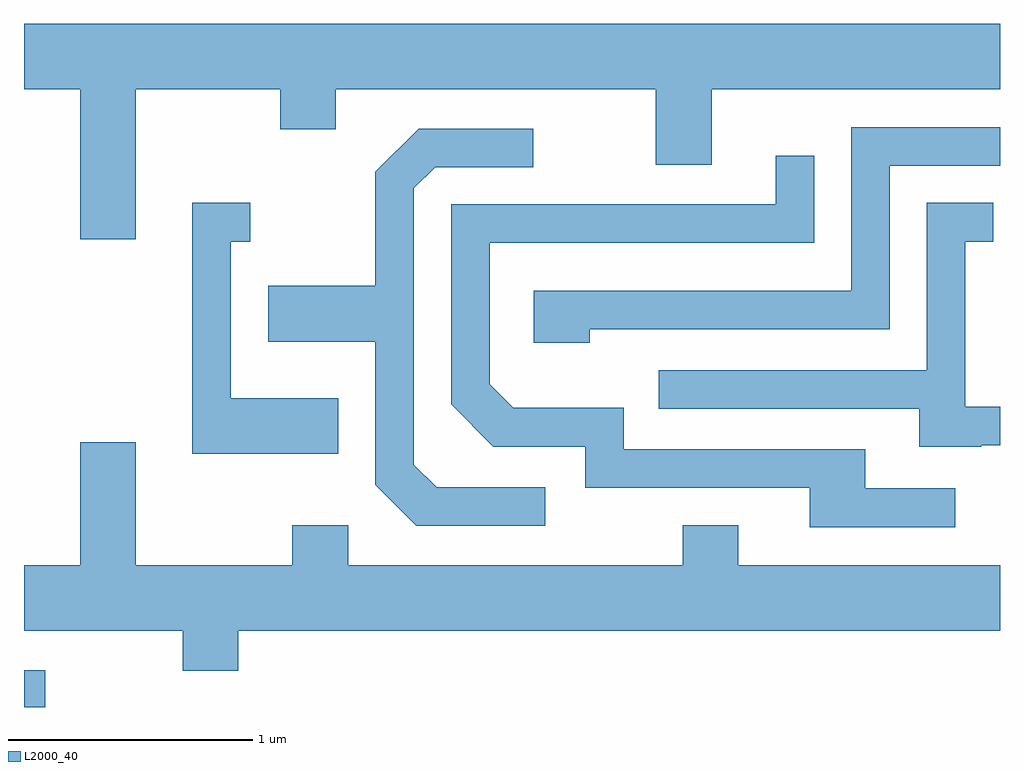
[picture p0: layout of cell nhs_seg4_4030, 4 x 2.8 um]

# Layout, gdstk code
import gdstk
lib = gdstk.Library(unit=1e-6, precision=1e-09)
def R(c, l, rs):  # rectangles x0, y0, x1, y1
    for r in rs: c.add(gdstk.rectangle(r[:2], r[2:], *l))
def P(c, l, *ps):  # polygons
    for p in ps: c.add(gdstk.Polygon(p, *l))
L2000_40 = (2000, 40)

nhs_seg4_4030 = lib.new_cell('nhs_seg4_4030')
R(nhs_seg4_4030, L2000_40, [(303.611,1289.982,303.698,1290.134)])
P(nhs_seg4_4030, L2000_40, [(304.069,1292.516),(304.661,1292.516),(304.661,1292.351),(304.889,1292.351),(304.889,1292.516),(306.201,1292.516),(306.201,1292.206),(306.429,1292.206),(306.429,1292.516),(307.611,1292.516),(307.611,1292.784),(303.611,1292.784),(303.611,1292.516),(303.841,1292.516),(303.841,1291.901),(304.069,1291.901)],
  [(305.929,1291.531),(307.159,1291.531),(307.159,1292.201),(307.611,1292.201),(307.611,1292.359),(307.001,1292.359),(307.001,1291.689),(305.701,1291.689),(305.701,1291.476),(305.929,1291.476)],
  [(305.748,1290.884),(305.302,1290.884),(305.209,1290.977),(305.209,1292.109),(305.297,1292.196),(305.698,1292.196),(305.698,1292.354),(305.229,1292.354),(305.051,1292.177),(305.051,1291.709),(304.611,1291.709),(304.611,1291.481),(305.051,1291.481),(305.051,1290.894),(305.219,1290.726),(305.748,1290.726)],
  [(307.428,1290.879),(307.059,1290.879),(307.059,1291.039),(306.069,1291.039),(306.069,1291.209),(305.617,1291.209),(305.519,1291.307),(305.519,1291.886),(306.849,1291.886),(306.849,1292.243),(306.691,1292.243),(306.691,1292.044),(305.361,1292.044),(305.361,1291.224),(305.534,1291.051),(305.911,1291.051),(305.911,1290.881),(306.831,1290.881),(306.831,1290.721),(307.428,1290.721)],
  [(304.899,1291.249),(304.459,1291.249),(304.459,1291.891),(304.538,1291.891),(304.538,1292.049),(304.301,1292.049),(304.301,1291.021),(304.899,1291.021)],
  [(307.535,1291.056),(307.611,1291.056),(307.611,1291.214),(307.469,1291.214),(307.469,1291.891),(307.583,1291.891),(307.583,1292.049),(307.311,1292.049),(307.311,1291.364),(306.213,1291.364),(306.213,1291.206),(307.281,1291.206),(307.281,1291.051),(307.535,1291.051)],
  [(307.611,1290.564),(306.539,1290.564),(306.539,1290.729),(306.311,1290.729),(306.311,1290.564),(304.939,1290.564),(304.939,1290.729),(304.711,1290.729),(304.711,1290.564),(304.069,1290.564),(304.069,1291.069),(303.841,1291.069),(303.841,1290.564),(303.611,1290.564),(303.611,1290.296),(304.261,1290.296),(304.261,1290.131),(304.489,1290.131),(304.489,1290.296),(307.611,1290.296)])

lib.write_gds('nhs_seg4_4030.gds')
